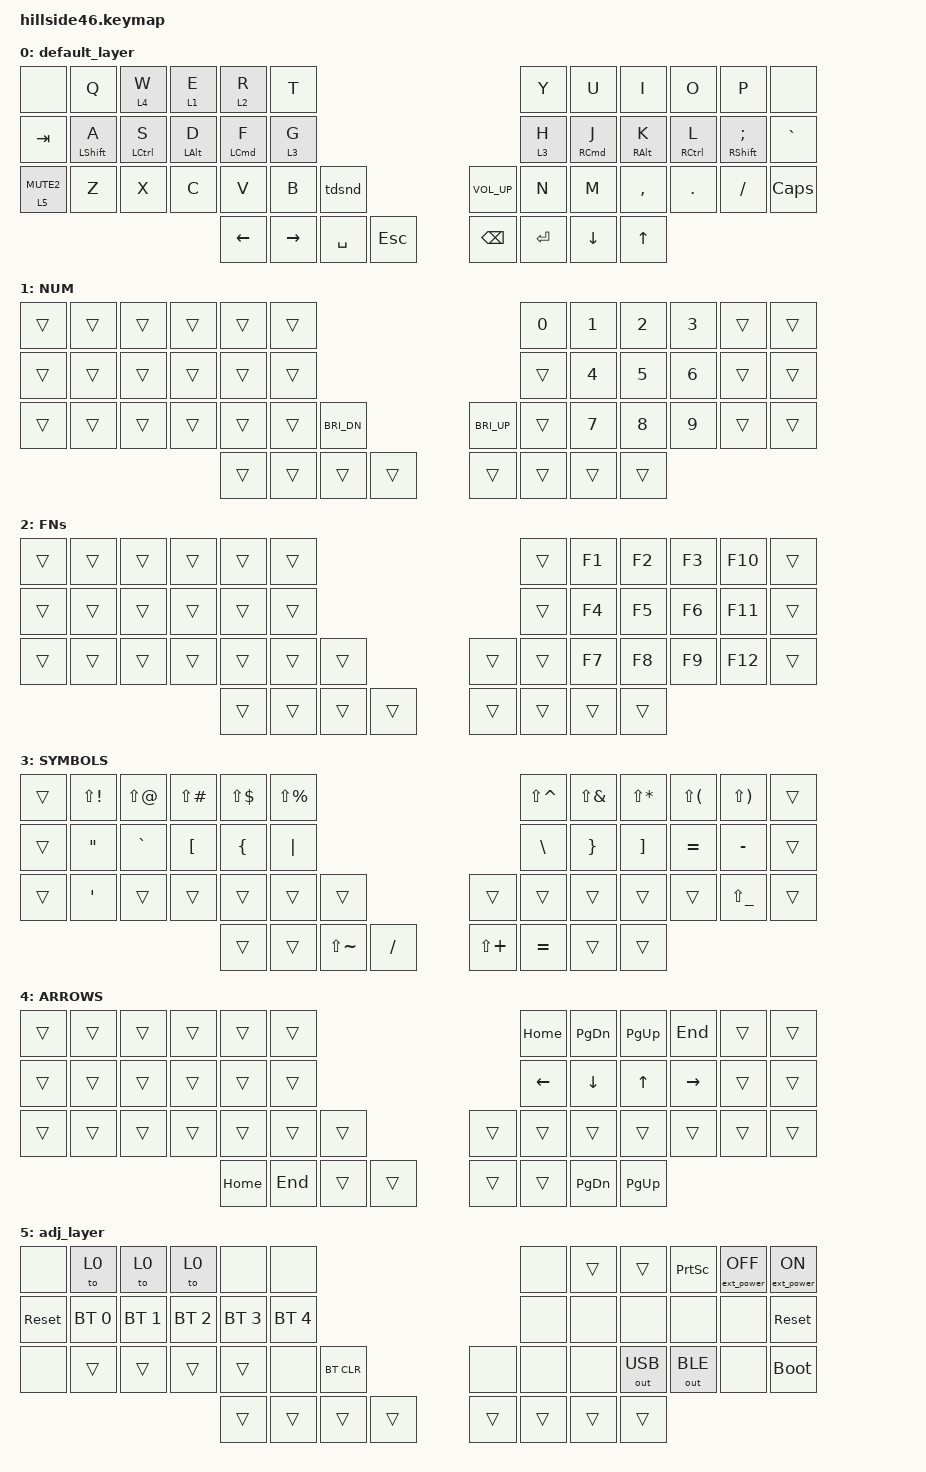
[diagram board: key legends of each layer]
/*
 * Copyright (c) 2021-2022 The ZMK Contributors
 *
 * SPDX-License-Identifier: MIT
 */

#include <behaviors.dtsi>
#include <dt-bindings/zmk/bt.h>
#include <dt-bindings/zmk/ext_power.h>
#include <dt-bindings/zmk/keys.h>
#include <dt-bindings/zmk/outputs.h>

#define QWERTY_L 0
#define DVORAK_L 1
#define COLEMK_L 2
#define NAV_L    3
#define SYM_L    4
#define ADJ_L    5
#define Undo   LC(Z)
#define Cut    LC(X)
#define Copy   LC(C)
#define Paste  LC(V)
#define Redo   LC(Y)

/ {
    behaviors {
        ht2kp: ht2kp {
            compatible = "zmk,behavior-hold-tap";
            label = "Hold Tap 2 KP";
            bindings =
                <&kp>,
                <&kp>;

            #binding-cells = <2>;
            tapping-term-ms = <200>;
            flavor = "tap-preferred";
        };
        htkpmo: htkpmo {
            compatible = "zmk,behavior-hold-tap";
            label = "HOLD_TAP_TO_LAYER";
            bindings =
                <&mo>,
                <&kp>;

            #binding-cells = <2>;
            tapping-term-ms = <200>;
        };
        tdsnd: tdsnd {
            compatible = "zmk,behavior-tap-dance";
            label = "TDSND";
            #binding-cells = <0>;
            bindings =
                <&kp C_VOLUME_DOWN>,
                <&kp K_MUTE>;
        };
    };

    keymap {
        compatible = "zmk,keymap";

        default_layer {
            /* QWERTY
 * -------------------------------------------------------------------------------------------------------------------------------------
 * | `     |   Q   |   W   |   E   |   R   |   T   |-----------------------------------|   Y   |   U   |   I   |   O   |   P   | BKSPC |
 * | TAB   |   A   |   S   |   D   |   F   |   G   |-----------------------------------|   H   |   J   |   K   |   L   |   ;   | ENTER |
 * | CTRL  |   Z   |   X   |   C   |   V   |   B   |  ESC  |-------------------|  CAPS |   N   |   M   |   ,   |   .   |   /   |   '   |
 *                                 |  GUI  |  ALT  |SK SHFT|  Nav  |---|  Sym  | SPACE |  ALT  |  GUI  |
 */

            bindings = <
            &none                &kp Q            &htkpmo 4 W        &htkpmo 1 E            &htkpmo 2 R        &kp T                                                                  &kp Y                   &kp U               &kp I                   &kp O                         &kp P         &none
          &kp TAB  &ht2kp LEFT_SHIFT A  &ht2kp LEFT_CONTROL S  &ht2kp LEFT_ALT D  &ht2kp LEFT_COMMAND F  &htkpmo 3 G                                                            &htkpmo 3 H  &ht2kp RIGHT_COMMAND J  &ht2kp RIGHT_ALT K  &ht2kp RIGHT_CONTROL L  &ht2kp RIGHT_SHIFT SEMICOLON     &kp GRAVE
&htkpmo 5 K_MUTE2                &kp Z                  &kp X              &kp C                  &kp V        &kp B     &tdsnd                             &kp C_VOLUME_UP           &kp N                   &kp M           &kp COMMA                 &kp DOT                     &kp SLASH  &kp CAPSLOCK
                                                                                               &kp LEFT    &kp RIGHT  &kp SPACE  &kp ESCAPE  &kp BACKSPACE        &kp ENTER  &kp DOWN_ARROW            &kp UP_ARROW
            >;
        };

        numbers {
            /* NAV   
 * -------------------------------------------------------------------------------------------------------------------------------------
 * | Copy  |   1   |   2   |   3   |   4   |   5   |-----------------------------------|   6   |   7   |   8   |   9   |   0   | BSPC  |
 * | Cut   |  GUI  |  Alt  | Ctrl  | Shift | Paste |-----------------------------------| PG UP |  Left |  Up   |  Down | Right | PG DN |
 * | Ctrl  |  F1   |  F2   |  F3   |  F4   |  F5   |  UnDo |-------------------| ReDo  |  F6   |  F7   |  F8   |  F9   |  F10  | Ctrl  |
 *                                 |       |       |       |       |---| ADJ_L |       |       |       |
 */

            bindings = <
&trans  &trans  &trans  &trans  &trans  &trans                                              &kp NUMBER_0  &kp NUMBER_1  &kp NUMBER_2  &kp NUMBER_3  &trans  &trans
&trans  &trans  &trans  &trans  &trans  &trans                                                    &trans  &kp NUMBER_4  &kp NUMBER_5  &kp NUMBER_6  &trans  &trans
&trans  &trans  &trans  &trans  &trans  &trans  &kp C_BRI_DN                  &kp C_BRI_UP        &trans  &kp NUMBER_7  &kp NUMBER_8  &kp NUMBER_9  &trans  &trans
                                &trans  &trans        &trans  &trans  &trans        &trans        &trans        &trans
            >;

            label = "NUM";
        };

        fns {
            /* SYM
 * -------------------------------------------------------------------------------------------------------------------------------------
 * | INS   |   !   |   @   |   #   |   $   |   %   |-----------------------------------|   ^   |   &   |   *   |   (   |   )   | BSPC  |
 * |       |   \   |   -   |   =   |   [   |   ]   |-----------------------------------| HOME  | Shift | Ctrl  | Alt   | Gui   | END   |
 * | Ctrl  |   |   |   _   |   +   |   {   |   }   |SkAltGr|-------------------| MENU  | Mute  | Vol-  | Vol+  | Play  |       | Ctrl  |
 *                                 |       |       |       |  ADJ_L |---|      |       |       |       |
 */

            bindings = <
&trans  &trans  &trans  &trans  &trans  &trans                                  &trans  &kp F1  &kp F2  &kp F3  &kp F10  &trans
&trans  &trans  &trans  &trans  &trans  &trans                                  &trans  &kp F4  &kp F5  &kp F6  &kp F11  &trans
&trans  &trans  &trans  &trans  &trans  &trans  &trans                  &trans  &trans  &kp F7  &kp F8  &kp F9  &kp F12  &trans
                                &trans  &trans  &trans  &trans  &trans  &trans  &trans  &trans
            >;

            label = "FNs";
        };

        sympols {
            bindings = <
&trans       &kp LS(EXCL)  &kp LS(AT)  &kp LS(POUND)    &kp LS(DLLR)  &kp LS(PRCNT)                                                    &kp LS(CARET)     &kp LS(AMPS)       &kp LS(STAR)  &kp LS(LPAR)   &kp LS(RPAR)  &trans
&trans  &kp DOUBLE_QUOTES   &kp GRAVE       &kp LBKT  &kp LEFT_BRACE       &kp PIPE                                                         &kp BSLH  &kp RIGHT_BRACE  &kp RIGHT_BRACKET     &kp EQUAL      &kp MINUS  &trans
&trans            &kp SQT      &trans         &trans          &trans         &trans         &trans                             &trans         &trans           &trans             &trans        &trans  &kp LS(UNDER)  &trans
                                                              &trans         &trans  &kp LS(TILDE)  &kp FSLH  &kp LS(PLUS)  &kp EQUAL         &trans           &trans
            >;

            label = "SYMBOLS";
        };

        arrows {
            bindings = <
&trans  &trans  &trans  &trans    &trans   &trans                                   &kp HOME  &kp PG_DN  &kp PG_UP    &kp END  &trans  &trans
&trans  &trans  &trans  &trans    &trans   &trans                                   &kp LEFT   &kp DOWN     &kp UP  &kp RIGHT  &trans  &trans
&trans  &trans  &trans  &trans    &trans   &trans  &trans                  &trans     &trans     &trans     &trans     &trans  &trans  &trans
                                &kp HOME  &kp END  &trans  &trans  &trans  &trans  &kp PG_DN  &kp PG_UP
            >;

            label = "ARROWS";
        };

        adj_layer {
            /* ADJUST
 * -------------------------------------------------------------------------------------------------------------------------------------
 * |       | QWERTY| DVORAK| COLEMK|       |       |-----------------------------------|       |  F11  |  F12  |Prt Scr|EP_OFF | EP_ON |
 * | RESET | BT 0  | BT 1  | BT 2  | BT 3  | BT 4  |-----------------------------------|       |       |       |       |       | RESET |
 * |       | LGUI  | LALT  | LCTRL | LSHIFT|       |BT CLR |-------------------|       |       |       |OUT_USB|OUT_BLE|       | BOOTL |
 *                                 |       |       |       |       |---|       |       |       |       |
 */

            bindings = <
     &none         &to 0         &to 0         &to 0         &none         &none                                       &none  &trans        &trans  &kp PRINTSCREEN  &ext_power EP_OFF  &ext_power EP_ON
&sys_reset  &bt BT_SEL 0  &bt BT_SEL 1  &bt BT_SEL 2  &bt BT_SEL 3  &bt BT_SEL 4                                       &none   &none         &none            &none              &none        &sys_reset
     &none        &trans        &trans        &trans        &trans         &none  &bt BT_CLR                   &none   &none   &none  &out OUT_USB     &out OUT_BLE              &none       &bootloader
                                                            &trans        &trans      &trans  &trans  &trans  &trans  &trans  &trans
            >;
        };
    };
};
